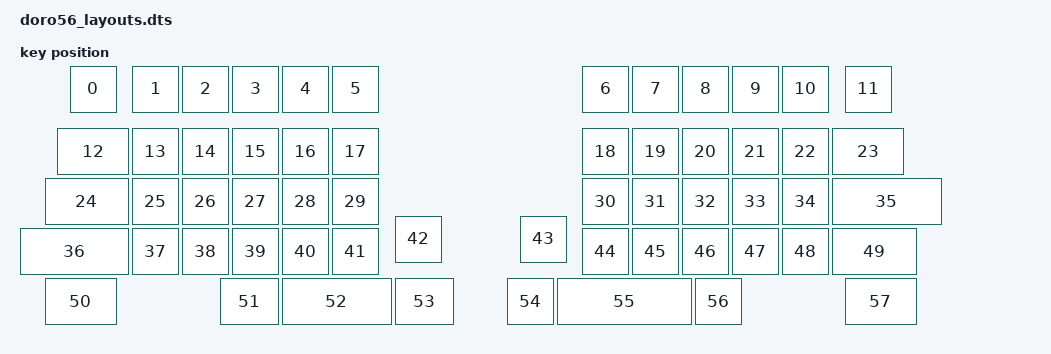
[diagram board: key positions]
#include <physical_layouts.dtsi>

/ {
    layout_0: layout_0 {
        compatible = "zmk,physical-layout";
        display-name = "default_layout";

        kscan = <&kscan_0>;
        transform = <&matrix_transform_0>;

        keys  //                     w   h    x    y     rot    rx    ry
            = <&key_physical_attrs 100 100  100    0       0     0     0>
            , <&key_physical_attrs 100 100  225    0       0     0     0>
            , <&key_physical_attrs 100 100  325    0       0     0     0>
            , <&key_physical_attrs 100 100  425    0       0     0     0>
            , <&key_physical_attrs 100 100  525    0       0     0     0>
            , <&key_physical_attrs 100 100  625    0       0     0     0>
            , <&key_physical_attrs 100 100 1125    0       0     0     0>
            , <&key_physical_attrs 100 100 1225    0       0     0     0>
            , <&key_physical_attrs 100 100 1325    0       0     0     0>
            , <&key_physical_attrs 100 100 1425    0       0     0     0>
            , <&key_physical_attrs 100 100 1525    0       0     0     0>
            , <&key_physical_attrs 100 100 1650    0       0     0     0>
            , <&key_physical_attrs 150 100   75  125       0     0     0>
            , <&key_physical_attrs 100 100  225  125       0     0     0>
            , <&key_physical_attrs 100 100  325  125       0     0     0>
            , <&key_physical_attrs 100 100  425  125       0     0     0>
            , <&key_physical_attrs 100 100  525  125       0     0     0>
            , <&key_physical_attrs 100 100  625  125       0     0     0>
            , <&key_physical_attrs 100 100 1125  125       0     0     0>
            , <&key_physical_attrs 100 100 1225  125       0     0     0>
            , <&key_physical_attrs 100 100 1325  125       0     0     0>
            , <&key_physical_attrs 100 100 1425  125       0     0     0>
            , <&key_physical_attrs 100 100 1525  125       0     0     0>
            , <&key_physical_attrs 150 100 1625  125       0     0     0>
            , <&key_physical_attrs 175 100   50  225       0     0     0>
            , <&key_physical_attrs 100 100  225  225       0     0     0>
            , <&key_physical_attrs 100 100  325  225       0     0     0>
            , <&key_physical_attrs 100 100  425  225       0     0     0>
            , <&key_physical_attrs 100 100  525  225       0     0     0>
            , <&key_physical_attrs 100 100  625  225       0     0     0>
            , <&key_physical_attrs 100 100 1125  225       0     0     0>
            , <&key_physical_attrs 100 100 1225  225       0     0     0>
            , <&key_physical_attrs 100 100 1325  225       0     0     0>
            , <&key_physical_attrs 100 100 1425  225       0     0     0>
            , <&key_physical_attrs 100 100 1525  225       0     0     0>
            , <&key_physical_attrs 225 100 1625  225       0     0     0>
            , <&key_physical_attrs 225 100    0  325       0     0     0>
            , <&key_physical_attrs 100 100  225  325       0     0     0>
            , <&key_physical_attrs 100 100  325  325       0     0     0>
            , <&key_physical_attrs 100 100  425  325       0     0     0>
            , <&key_physical_attrs 100 100  525  325       0     0     0>
            , <&key_physical_attrs 100 100  625  325       0     0     0>
            , <&key_physical_attrs 100 100  750  300       0     0     0>
            , <&key_physical_attrs 100 100 1000  300       0     0     0>
            , <&key_physical_attrs 100 100 1125  325       0     0     0>
            , <&key_physical_attrs 100 100 1225  325       0     0     0>
            , <&key_physical_attrs 100 100 1325  325       0     0     0>
            , <&key_physical_attrs 100 100 1425  325       0     0     0>
            , <&key_physical_attrs 100 100 1525  325       0     0     0>
            , <&key_physical_attrs 175 100 1625  325       0     0     0>
            , <&key_physical_attrs 150 100   50  425       0     0     0>
            , <&key_physical_attrs 125 100  400  425       0     0     0>
            , <&key_physical_attrs 225 100  525  425       0     0     0>
            , <&key_physical_attrs 125 100  750  425       0     0     0>
            , <&key_physical_attrs 100 100  975  425       0     0     0>
            , <&key_physical_attrs 275 100 1075  425       0     0     0>
            , <&key_physical_attrs 100 100 1350  425       0     0     0>
            , <&key_physical_attrs 150 100 1650  425       0     0     0>
            ;
    };
};
